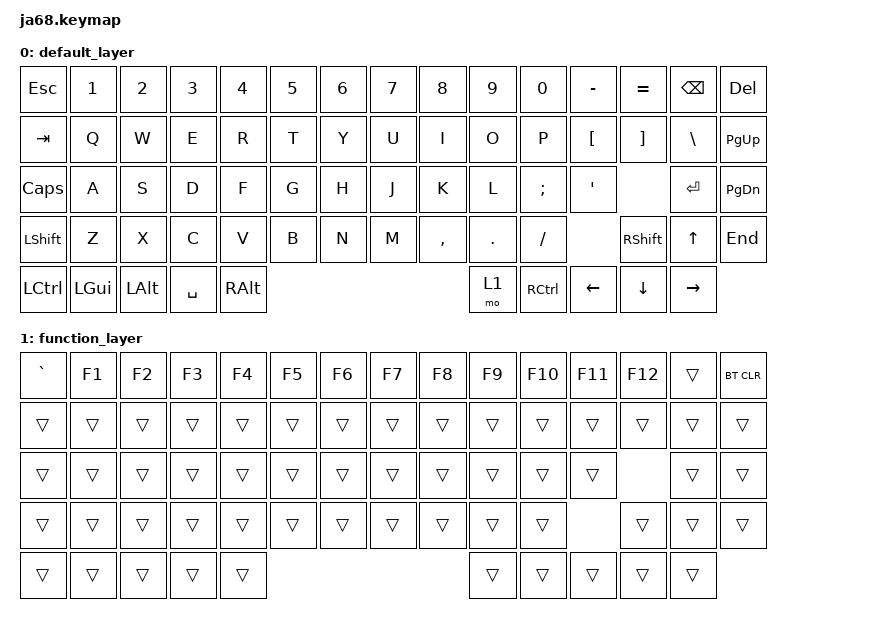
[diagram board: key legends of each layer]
#include <behaviors.dtsi>
#include <dt-bindings/zmk/keys.h>
#include <dt-bindings/zmk/bt.h>

/ {
    keymap {
        compatible = "zmk,keymap";

        default_layer {
            bindings = <
    &kp ESC   &kp N1    &kp N2   &kp N3   &kp N4   &kp N5   &kp N6   &kp N7    &kp N8    &kp N9    &kp N0   &kp MINUS &kp EQUAL &kp BSPC  &kp DEL
    &kp TAB   &kp Q     &kp W    &kp E    &kp R    &kp T    &kp Y    &kp U     &kp I     &kp O     &kp P    &kp LBKT  &kp RBKT  &kp BSLH  &kp PG_UP
    &kp CLCK  &kp A     &kp S    &kp D    &kp F    &kp G    &kp H    &kp J     &kp K     &kp L     &kp SEMI &kp SQT             &kp RET   &kp PG_DN
    &kp LSHFT &kp Z     &kp X    &kp C    &kp V    &kp B    &kp N    &kp M     &kp COMMA &kp DOT   &kp FSLH           &kp RSHFT &kp UP    &kp END
    &kp LCTRL &kp LGUI  &kp LALT                   &kp SPACE                   &kp RALT  &mo 1     &kp RCTRL &kp LEFT  &kp DOWN  &kp RIGHT
            >;
        };

        function_layer {
            bindings = <
    &kp GRAVE &kp F1    &kp F2   &kp F3   &kp F4   &kp F5   &kp F6   &kp F7    &kp F8    &kp F9    &kp F10  &kp F11   &kp F12   &trans    &bt BT_CLR
    &trans    &trans    &trans   &trans   &trans   &trans   &trans   &trans    &trans    &trans    &trans   &trans    &trans    &trans    &trans
    &trans    &trans    &trans   &trans   &trans   &trans   &trans   &trans    &trans    &trans    &trans   &trans              &trans    &trans
    &trans    &trans    &trans   &trans   &trans   &trans   &trans   &trans    &trans    &trans    &trans             &trans    &trans    &trans
    &trans    &trans    &trans                     &trans                      &trans    &trans    &trans    &trans    &trans    &trans
            >;
        };
    };
};
